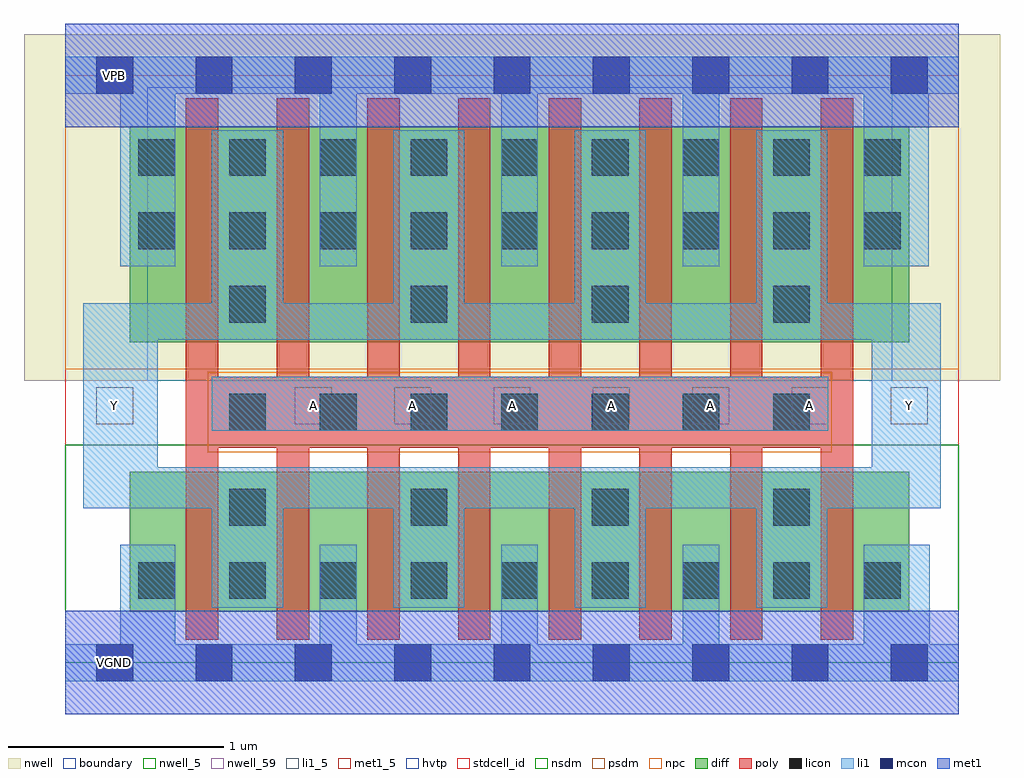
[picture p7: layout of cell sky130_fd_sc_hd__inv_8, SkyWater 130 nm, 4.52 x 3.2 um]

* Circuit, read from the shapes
.subckt sky130_fd_sc_hd__inv_8 A VGND VNB VPB VPWR Y
XM1 Y A VGND VNB sky130_fd_pr__nfet_01v8 w=0.65 l=0.15 m=8
XM2 Y A VPWR VPB sky130_fd_pr__pfet_01v8_hvt w=1 l=0.15 m=8
.ends

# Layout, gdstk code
import gdstk
lib = gdstk.Library(unit=1e-6, precision=1e-09)
def R(c, l, rs):  # rectangles x0, y0, x1, y1
    for r in rs: c.add(gdstk.rectangle(r[:2], r[2:], *l))
def A(c, l, x, y, w, h, nx, ny, dx, dy):  # array of equal rectangles
    R(c, l, [(x+i*dx, y+j*dy, x+i*dx+w, y+j*dy+h) for i in range(nx) for j in range(ny)])
nwell_5 = (64, 5)
nwell = (64, 20)
nwell_59 = (64, 59)
diff = (65, 20)
poly = (66, 20)
licon = (66, 44)
li1_5 = (67, 5)
li1 = (67, 20)
mcon = (67, 44)
met1_5 = (68, 5)
met1 = (68, 20)
hvtp = (78, 44)
stdcell_id = (81, 4)
nsdm = (93, 44)
psdm = (94, 20)
npc = (95, 20)
boundary = (235, 4)

sky130_fd_sc_hd__inv_8 = lib.new_cell('sky130_fd_sc_hd__inv_8')
R(sky130_fd_sc_hd__inv_8, nwell_5, [(0.145,2.635,0.315,2.805)])
R(sky130_fd_sc_hd__inv_8, nwell, [(-0.19,1.305,4.33,2.91)])
R(sky130_fd_sc_hd__inv_8, nwell_59, [(0.145,-0.085,0.315,0.085)])
R(sky130_fd_sc_hd__inv_8, diff, [(0.3,0.235,3.91,0.885), (0.3,1.485,3.91,2.485)])
A(sky130_fd_sc_hd__inv_8, poly, 0.56, 0.105, 0.15, 0.89, 8, 1, 0.42, 0)
A(sky130_fd_sc_hd__inv_8, poly, 0.56, 1.325, 0.15, 1.29, 8, 1, 0.42, 0)
R(sky130_fd_sc_hd__inv_8, poly, [(0.56,0.995,3.65,1.325)])
A(sky130_fd_sc_hd__inv_8, licon, 0.34, 0.295, 0.17, 0.17, 9, 2, 0.42, 1.62)
A(sky130_fd_sc_hd__inv_8, licon, 0.76, 0.635, 0.17, 0.17, 4, 2, 0.84, 0.94)
A(sky130_fd_sc_hd__inv_8, licon, 0.76, 1.075, 0.17, 0.17, 7, 1, 0.42, 0)
A(sky130_fd_sc_hd__inv_8, licon, 0.34, 2.255, 0.17, 0.17, 9, 1, 0.42, 0)
A(sky130_fd_sc_hd__inv_8, li1_5, 1.065, 1.105, 0.17, 0.17, 7, 1, 0.46, 0)
R(sky130_fd_sc_hd__inv_8, li1_5, [(0.145,1.105,0.315,1.275)])
A(sky130_fd_sc_hd__inv_8, li1, 1.18, 0.085, 0.17, 0.46, 3, 1, 0.84, 0)
A(sky130_fd_sc_hd__inv_8, li1, 0.68, 0.255, 0.33, 0.46, 4, 1, 0.84, 0)
A(sky130_fd_sc_hd__inv_8, li1, 0.68, 1.665, 0.33, 0.8, 4, 1, 0.84, 0)
A(sky130_fd_sc_hd__inv_8, li1, 1.18, 1.835, 0.17, 0.8, 3, 1, 0.84, 0)
R(sky130_fd_sc_hd__inv_8, li1, [(0,-0.085,4.14,0.085), (0.255,0.085,0.51,0.545), (3.7,0.085,4.005,0.545), (0.085,0.715,4.055,0.905), (0.085,0.905,0.43,1.495), (3.735,0.905,4.055,1.495), (0.68,1.075,3.535,1.325), (0.085,1.495,4.055,1.665), (0.255,1.835,0.51,2.635), (3.7,1.835,4,2.635), (0,2.635,4.14,2.805)])
A(sky130_fd_sc_hd__inv_8, mcon, 0.145, -0.085, 0.17, 0.17, 9, 2, 0.46, 2.72)
R(sky130_fd_sc_hd__inv_8, met1_5, [(0.145,-0.085,0.315,0.085), (0.145,2.635,0.315,2.805)])
R(sky130_fd_sc_hd__inv_8, met1, [(0,-0.24,4.14,0.24), (0,2.48,4.14,2.96)])
R(sky130_fd_sc_hd__inv_8, hvtp, [(0.38,1.305,3.83,2.665)])
R(sky130_fd_sc_hd__inv_8, stdcell_id, [(0,0,4.14,2.72)])
R(sky130_fd_sc_hd__inv_8, nsdm, [(0,0,4.14,1.01)])
R(sky130_fd_sc_hd__inv_8, psdm, [(0,1.36,4.14,2.72)])
R(sky130_fd_sc_hd__inv_8, npc, [(0.66,0.975,3.55,1.345)])
R(sky130_fd_sc_hd__inv_8, boundary, [(0,0,4.14,2.72)])
sky130_fd_sc_hd__inv_8.add(gdstk.Label('A', (1.15,1.19), layer=67, texttype=5))
sky130_fd_sc_hd__inv_8.add(gdstk.Label('A', (1.61,1.19), layer=67, texttype=5))
sky130_fd_sc_hd__inv_8.add(gdstk.Label('A', (2.07,1.19), layer=67, texttype=5))
sky130_fd_sc_hd__inv_8.add(gdstk.Label('A', (2.53,1.19), layer=67, texttype=5))
sky130_fd_sc_hd__inv_8.add(gdstk.Label('A', (2.99,1.19), layer=67, texttype=5))
sky130_fd_sc_hd__inv_8.add(gdstk.Label('A', (3.45,1.19), layer=67, texttype=5))
sky130_fd_sc_hd__inv_8.add(gdstk.Label('VGND', (0.23,0), layer=68, texttype=5))
sky130_fd_sc_hd__inv_8.add(gdstk.Label('VNB', (0.23,0), layer=64, texttype=59))
sky130_fd_sc_hd__inv_8.add(gdstk.Label('VPB', (0.23,2.72), layer=64, texttype=5))
sky130_fd_sc_hd__inv_8.add(gdstk.Label('VPWR', (0.23,2.72), layer=68, texttype=5))
sky130_fd_sc_hd__inv_8.add(gdstk.Label('Y', (3.91,1.19), layer=67, texttype=5))
sky130_fd_sc_hd__inv_8.add(gdstk.Label('Y', (0.23,1.19), layer=67, texttype=5))

lib.write_gds('sky130_fd_sc_hd__inv_8.gds')
